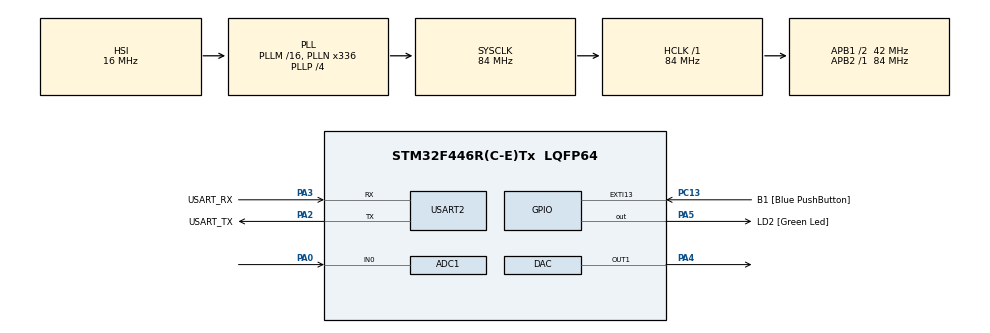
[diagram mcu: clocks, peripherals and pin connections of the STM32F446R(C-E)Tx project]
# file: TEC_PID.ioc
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ADC1.Channel-0\#ChannelRegularConversion=ADC_CHANNEL_0
ADC1.NbrOfConversionFlag=1
ADC1.Rank-0\#ChannelRegularConversion=1
ADC1.SamplingTime-0\#ChannelRegularConversion=ADC_SAMPLETIME_3CYCLES
ADC1.master=1
Mcu.Family=STM32F4
Mcu.Name=STM32F446R(C-E)Tx
Mcu.Package=LQFP64
NVIC.PriorityGroup=NVIC_PRIORITYGROUP_0
PA0-WKUP.Signal=ADCx_IN0
PA13.GPIO_Label=TMS
PA13.Mode=Serial_Wire
PA13.Signal=SYS_JTMS-SWDIO
PA14.GPIO_Label=TCK
PA14.Mode=Serial_Wire
PA14.Signal=SYS_JTCK-SWCLK
PA2.GPIO_Label=USART_TX
PA2.Mode=Asynchronous
PA2.Signal=USART2_TX
PA3.GPIO_Label=USART_RX
PA3.Mode=Asynchronous
PA3.Signal=USART2_RX
PA4.Signal=COMP_DAC1_group
PA5.GPIO_Label=LD2 [Green Led]
PA5.Signal=GPIO_Output
PB3.GPIO_Label=SWO
PB3.Signal=SYS_JTDO-SWO
PC13.GPIO_Label=B1 [Blue PushButton]
PC13.GPIO_ModeDefaultEXTI=GPIO_MODE_IT_FALLING
PC13.Signal=GPXTI13
PC14-OSC32_IN.Mode=LSE-External-Oscillator
PC14-OSC32_IN.Signal=RCC_OSC32_IN
PC15-OSC32_OUT.Mode=LSE-External-Oscillator
PC15-OSC32_OUT.Signal=RCC_OSC32_OUT
PH0-OSC_IN.Mode=HSE-External-Oscillator
PH0-OSC_IN.Signal=RCC_OSC_IN
PH1-OSC_OUT.Mode=HSE-External-Oscillator
PH1-OSC_OUT.Signal=RCC_OSC_OUT
ProjectManager.HeapSize=0x200
ProjectManager.StackSize=0x400
ProjectManager.TargetToolchain=STM32CubeIDE
RCC.48MHZClocksFreq_Value=84000000
RCC.AHBFreq_Value=84000000
RCC.APB1CLKDivider=RCC_HCLK_DIV2
RCC.APB1Freq_Value=42000000
RCC.APB1TimFreq_Value=84000000
RCC.APB2Freq_Value=84000000
RCC.APB2TimFreq_Value=84000000
RCC.CortexFreq_Value=84000000
RCC.FLatency-AdvancedSettings=FLASH_LATENCY_2
RCC.HCLKFreq_Value=84000000
RCC.HSE_VALUE=8000000
RCC.HSI_VALUE=16000000
RCC.PLLN=336
RCC.PLLP=RCC_PLLP_DIV4
RCC.SYSCLKFreq_VALUE=84000000
RCC.SYSCLKSource=RCC_SYSCLKSOURCE_PLLCLK
RCC.USBFreq_Value=168000000
RCC.VCOOutputFreq_Value=336000000
SH.ADCx_IN0.0=ADC1_IN0,IN0
SH.COMP_DAC1_group.0=DAC_OUT1,DAC_OUT1
USART2.VirtualMode=VM_ASYNC
board=NUCLEO-F446RE

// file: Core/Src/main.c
/* USER CODE BEGIN Header */
/**
  ******************************************************************************
  * @file           : main.c
  * @brief          : Main program body
  ******************************************************************************
  * @attention
  *
  * <h2><center>&copy; Copyright (c) 2021 STMicroelectronics.
  * All rights reserved.</center></h2>
  *
  * This software component is licensed by ST under BSD 3-Clause license,
  * the "License"; You may not use this file except in compliance with the
  * License. You may obtain a copy of the License at:
  *                        opensource.org/licenses/BSD-3-Clause
  *
  ******************************************************************************
  */
/* USER CODE END Header */
#include "main.h"

/* USER CODE BEGIN Includes */
#include <math.h>
/* USER CODE END Includes */

ADC_HandleTypeDef hadc1;

DAC_HandleTypeDef hdac;

UART_HandleTypeDef huart2;

void SystemClock_Config(void);
static void MX_GPIO_Init(void);
static void MX_ADC1_Init(void);
static void MX_DAC_Init(void);
static void MX_USART2_UART_Init(void);

int main(void)
{
  /* USER CODE BEGIN 1 */
	// Constants Needed for Calculations
	double A = 0.001128 ;
	double B = 2.345e-4 ;
	double C = 8.73e-8  ;
	// Constants Needed for Calculations

	uint16_t actual_Volt_Digitised ; // Raw Digital Value Obtained from the ADC which Reads the Thermistor Voltage
	float    actual_Volt_Analog    ; // Digital Value Scaled down to a Float equal to the Magnitude of the Read Voltage
	float    actual_Res            ; // Thermistor Resistance Corresponding to the Measured Voltage
	float    actual_Temp_Inv       ; // Inverse of the Temperature COrresponding to the THermistor Resistance (in Kelvin)
	float    actual_Temp           ; // Temperature COrresponding to the Thermistor Resistance (in Degrees Celcius)

	float temp_err ; // Difference between Measured Temperature and Temperature Setpoint
	float prev_err ; // Value of 'temp_err' at previous Iteration of the Control Signal

	float ctrl_Proportional   ; // Proportional Control Signal
	float ctrl_Integral = 0.0 ; // Integral Control Signal (Initialised to Zero)

	float    control_sig           ; // Full Control Signal
	float    control_sig_bounded   ; // Control Signal bounded between 0 and 3.3 to avoid wrap-around
	uint32_t control_sig_Digitised ; // Control Signal Scaled to Digital Value for DAC

	float temp_Setpoint = 32.0 ; // Temperature Setpoint
  /* USER CODE END 1 */

  /* MCU Configuration--------------------------------------------------------*/

  /* Reset of all peripherals, Initializes the Flash interface and the Systick. */
  HAL_Init();

  /* Configure the system clock */
  SystemClock_Config();

  /* Initialize all configured peripherals */
  MX_GPIO_Init();
  MX_ADC1_Init();
  MX_DAC_Init();
  MX_USART2_UART_Init();
  /* USER CODE BEGIN 2 */
  HAL_DAC_Start(&hdac, DAC_CHANNEL_1) ;
  /* USER CODE END 2 */

  /* Infinite loop */
  /* USER CODE BEGIN WHILE */
  while (1)
  {
	  // Read Voltage Across Thermistor
	  HAL_ADC_Start(&hadc1) ;
	  HAL_ADC_PollForConversion(&hadc1, HAL_MAX_DELAY) ;
	  actual_Volt_Digitised = HAL_ADC_GetValue(&hadc1) ;
	  // Read Voltage Across Thermistor

	  // Calculations Required to Map Read Volatge to a Temperature
	  actual_Volt_Analog = (actual_Volt_Digitised/4096.0)*3.3               ; // Scale Digital Voltage Reading
	  actual_Res = (actual_Volt_Analog/(5.0-actual_Volt_Analog))*10000      ; // Calculate Thermistor Resistance
	  actual_Temp_Inv = A + B*log(actual_Res) + C*pow(log(actual_Res), 3.0) ; // Calculate Inverse of Corresponding Temperature
	  actual_Temp = (1/actual_Temp_Inv) - 273.15                            ; // Calculate actual Temperature and Convert to Degrees Celcius
	  // Calculations Required to Map Read Voltage to a Temperature

	  temp_err = actual_Temp - temp_Setpoint ;  // Calculate Temperature Error
	  HAL_Delay(10) ;

	  ctrl_Proportional = temp_err                                   ; // Proportional Control Signal
	  ctrl_Integral     = ctrl_Integral + 0.05*(temp_err + prev_err) ; // Integral Control Signal

	  control_sig = (ctrl_Proportional+ctrl_Integral)/(2.8) ; // Calculate Value of Control Signal

	  // Bound the Control Voltage between 0 and 3.3 to avoid Wrap-around
	  if (control_sig > 3.0) {
		  control_sig_bounded = 3.0 ;
	  }
	  else if (control_sig < 0.1) {
		  control_sig_bounded = 0.0 ;
	  }
	  else {
		  control_sig_bounded = control_sig ;
	  }
	  // Bound the Control SIgnal between 0 and 3.3 to avoid Wrap-around

	  control_sig_Digitised = control_sig_bounded*(0xfff+1)/3.3 ; // Scale the Control Signal back up to a Raw Digital Value for the DAC

	  HAL_DAC_SetValue(&hdac, DAC_CHANNEL_1, DAC_ALIGN_12B_R, control_sig_Digitised) ; // Output Analogue Voltage top COntrol TEC Current

	  HAL_Delay(1000) ;

	  prev_err = temp_err ; // Store the Value of 'temp_err' that was just Used
    /* USER CODE END WHILE */

  }
}

void SystemClock_Config(void)
{
  RCC_OscInitTypeDef RCC_OscInitStruct = {0};
  RCC_ClkInitTypeDef RCC_ClkInitStruct = {0};

  /** Configure the main internal regulator output voltage
  */
  __HAL_RCC_PWR_CLK_ENABLE();
  __HAL_PWR_VOLTAGESCALING_CONFIG(PWR_REGULATOR_VOLTAGE_SCALE3);
  /** Initializes the RCC Oscillators according to the specified parameters
  * in the RCC_OscInitTypeDef structure.
  */
  RCC_OscInitStruct.OscillatorType = RCC_OSCILLATORTYPE_HSI;
  RCC_OscInitStruct.HSIState = RCC_HSI_ON;
  RCC_OscInitStruct.HSICalibrationValue = RCC_HSICALIBRATION_DEFAULT;
  RCC_OscInitStruct.PLL.PLLState = RCC_PLL_ON;
  RCC_OscInitStruct.PLL.PLLSource = RCC_PLLSOURCE_HSI;
  RCC_OscInitStruct.PLL.PLLM = 16;
  RCC_OscInitStruct.PLL.PLLN = 336;
  RCC_OscInitStruct.PLL.PLLP = RCC_PLLP_DIV4;
  RCC_OscInitStruct.PLL.PLLQ = 2;
  RCC_OscInitStruct.PLL.PLLR = 2;
  if (HAL_RCC_OscConfig(&RCC_OscInitStruct) != HAL_OK)
  {
    Error_Handler();
  }
  /** Initializes the CPU, AHB and APB buses clocks
  */
  RCC_ClkInitStruct.ClockType = RCC_CLOCKTYPE_HCLK|RCC_CLOCKTYPE_SYSCLK
                              |RCC_CLOCKTYPE_PCLK1|RCC_CLOCKTYPE_PCLK2;
  RCC_ClkInitStruct.SYSCLKSource = RCC_SYSCLKSOURCE_PLLCLK;
  RCC_ClkInitStruct.AHBCLKDivider = RCC_SYSCLK_DIV1;
  RCC_ClkInitStruct.APB1CLKDivider = RCC_HCLK_DIV2;
  RCC_ClkInitStruct.APB2CLKDivider = RCC_HCLK_DIV1;

  if (HAL_RCC_ClockConfig(&RCC_ClkInitStruct, FLASH_LATENCY_2) != HAL_OK)
  {
    Error_Handler();
  }
}

static void MX_ADC1_Init(void)
{

  ADC_ChannelConfTypeDef sConfig = {0};

  /** Configure the global features of the ADC (Clock, Resolution, Data Alignment and number of conversion)
  */
  hadc1.Instance = ADC1;
  hadc1.Init.ClockPrescaler = ADC_CLOCK_SYNC_PCLK_DIV4;
  hadc1.Init.Resolution = ADC_RESOLUTION_12B;
  hadc1.Init.ScanConvMode = DISABLE;
  hadc1.Init.ContinuousConvMode = DISABLE;
  hadc1.Init.DiscontinuousConvMode = DISABLE;
  hadc1.Init.ExternalTrigConvEdge = ADC_EXTERNALTRIGCONVEDGE_NONE;
  hadc1.Init.ExternalTrigConv = ADC_SOFTWARE_START;
  hadc1.Init.DataAlign = ADC_DATAALIGN_RIGHT;
  hadc1.Init.NbrOfConversion = 1;
  hadc1.Init.DMAContinuousRequests = DISABLE;
  hadc1.Init.EOCSelection = ADC_EOC_SINGLE_CONV;
  if (HAL_ADC_Init(&hadc1) != HAL_OK)
  {
    Error_Handler();
  }
  /** Configure for the selected ADC regular channel its corresponding rank in the sequencer and its sample time.
  */
  sConfig.Channel = ADC_CHANNEL_0;
  sConfig.Rank = 1;
  sConfig.SamplingTime = ADC_SAMPLETIME_3CYCLES;
  if (HAL_ADC_ConfigChannel(&hadc1, &sConfig) != HAL_OK)
  {
    Error_Handler();
  }

}

static void MX_DAC_Init(void)
{

  DAC_ChannelConfTypeDef sConfig = {0};

  /** DAC Initialization
  */
  hdac.Instance = DAC;
  if (HAL_DAC_Init(&hdac) != HAL_OK)
  {
    Error_Handler();
  }
  /** DAC channel OUT1 config
  */
  sConfig.DAC_Trigger = DAC_TRIGGER_NONE;
  sConfig.DAC_OutputBuffer = DAC_OUTPUTBUFFER_ENABLE;
  if (HAL_DAC_ConfigChannel(&hdac, &sConfig, DAC_CHANNEL_1) != HAL_OK)
  {
    Error_Handler();
  }

}

static void MX_USART2_UART_Init(void)
{

  huart2.Instance = USART2;
  huart2.Init.BaudRate = 115200;
  huart2.Init.WordLength = UART_WORDLENGTH_8B;
  huart2.Init.StopBits = UART_STOPBITS_1;
  huart2.Init.Parity = UART_PARITY_NONE;
  huart2.Init.Mode = UART_MODE_TX_RX;
  huart2.Init.HwFlowCtl = UART_HWCONTROL_NONE;
  huart2.Init.OverSampling = UART_OVERSAMPLING_16;
  if (HAL_UART_Init(&huart2) != HAL_OK)
  {
    Error_Handler();
  }

}

static void MX_GPIO_Init(void)
{
  GPIO_InitTypeDef GPIO_InitStruct = {0};

  /* GPIO Ports Clock Enable */
  __HAL_RCC_GPIOC_CLK_ENABLE();
  __HAL_RCC_GPIOH_CLK_ENABLE();
  __HAL_RCC_GPIOA_CLK_ENABLE();
  __HAL_RCC_GPIOB_CLK_ENABLE();

  /*Configure GPIO pin Output Level */
  HAL_GPIO_WritePin(LD2_GPIO_Port, LD2_Pin, GPIO_PIN_RESET);

  /*Configure GPIO pin : B1_Pin */
  GPIO_InitStruct.Pin = B1_Pin;
  GPIO_InitStruct.Mode = GPIO_MODE_IT_FALLING;
  GPIO_InitStruct.Pull = GPIO_NOPULL;
  HAL_GPIO_Init(B1_GPIO_Port, &GPIO_InitStruct);

  /*Configure GPIO pin : LD2_Pin */
  GPIO_InitStruct.Pin = LD2_Pin;
  GPIO_InitStruct.Mode = GPIO_MODE_OUTPUT_PP;
  GPIO_InitStruct.Pull = GPIO_NOPULL;
  GPIO_InitStruct.Speed = GPIO_SPEED_FREQ_LOW;
  HAL_GPIO_Init(LD2_GPIO_Port, &GPIO_InitStruct);

}

void Error_Handler(void)
{
  __disable_irq();
  while (1)
  {
  }
}

/************************ (C) COPYRIGHT STMicroelectronics *****END OF FILE****/
